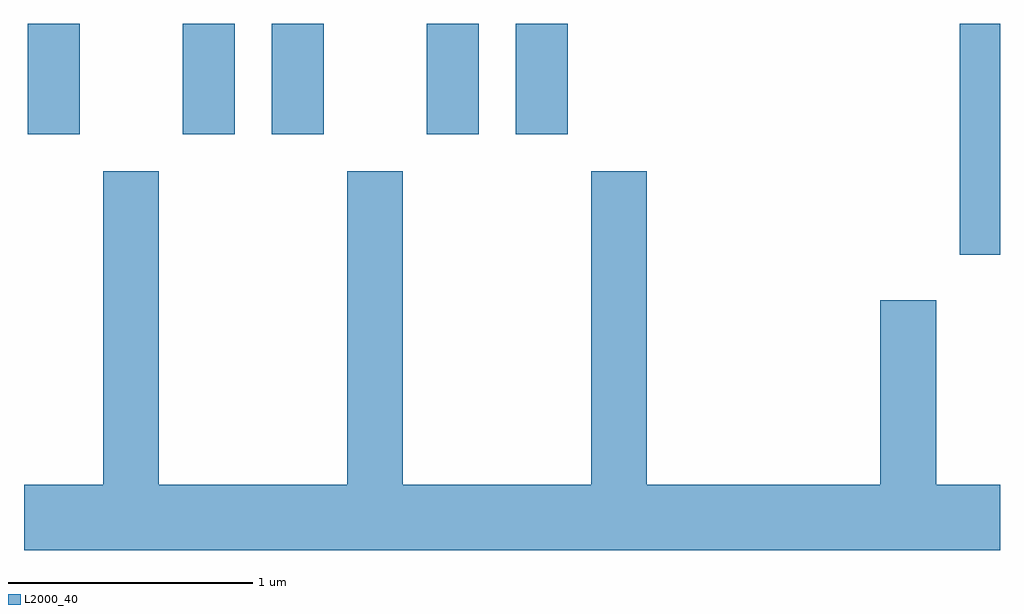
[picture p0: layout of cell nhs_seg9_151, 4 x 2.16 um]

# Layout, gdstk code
import gdstk
lib = gdstk.Library(unit=1e-6, precision=1e-09)
def R(c, l, rs):  # rectangles x0, y0, x1, y1
    for r in rs: c.add(gdstk.rectangle(r[:2], r[2:], *l))
def P(c, l, *ps):  # polygons
    for p in ps: c.add(gdstk.Polygon(p, *l))
L2000_40 = (2000, 40)

nhs_seg9_151 = lib.new_cell('nhs_seg9_151')
R(nhs_seg9_151, L2000_40, [(193.446,1977.486,193.611,1978.432), (189.626,1977.981,189.839,1978.432), (190.261,1977.981,190.474,1978.432), (190.626,1977.981,190.839,1978.432), (191.261,1977.981,191.474,1978.432), (191.626,1977.981,191.839,1978.432)])
P(nhs_seg9_151, L2000_40, [(193.611,1976.544),(193.349,1976.544),(193.349,1977.299),(193.121,1977.299),(193.121,1976.544),(192.164,1976.544),(192.164,1977.829),(191.936,1977.829),(191.936,1976.544),(191.164,1976.544),(191.164,1977.829),(190.936,1977.829),(190.936,1976.544),(190.164,1976.544),(190.164,1977.829),(189.936,1977.829),(189.936,1976.544),(189.611,1976.544),(189.611,1976.276),(193.611,1976.276)])

lib.write_gds('nhs_seg9_151.gds')
